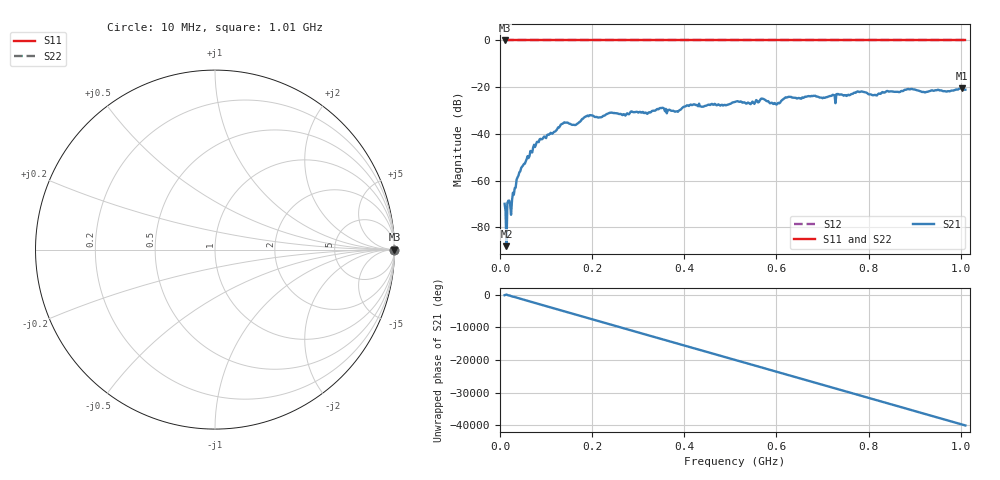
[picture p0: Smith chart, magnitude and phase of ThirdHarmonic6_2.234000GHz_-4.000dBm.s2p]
! 8/17/2025 2:33:47 AM
! C:\ANRITSUVNA\TEMP\TEMP.S2P
! CHANNEL.1
! TR.MEASUREMENT
! RAW.DATA
! RF.CORRECTION.OFF
! AVERAGING.OFF
! IF.BANDWIDTH: 5KHZ
! SWEEPTYPE:  FREQ.SWEEP(Linear)
! Reference Plane Port Info
! PORT:  PORT1  PORT2
! DISTANCE:  0  m  0  m
! TIME:  0  s  0  s
! PHASE.OFFSET:  0  deg.  0  deg.
! LOSS:  0  dB  0  dB
! REF.LOSS:  0  dB  0  dB
! REF.FREQ:  0  Hz  0  Hz
! Power Info
! POWER:  -20  dBm  -20  dBm
! EFF.POWER:  -20  dBm  -20  dBm
! SOURCE.ATTEN:  0  dB  0  dB
! TEST.ATTEN:  0  dB  0  dB
# GHZ S RI R 50.0
! FREQ.GHZ  S11RE  S11IM  S21RE  S21IM  S12RE  S12IM  S22RE  S22IM
!; PortSelection: Port_12
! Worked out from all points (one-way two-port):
!   501 points, 10 MHz to 1.01 GHz, reference 50 ohm
!   highest |S21| = -20.47 dB at 1.002 GHz (marker M1); lowest = -88.0 dB at 14 MHz (marker M2)
!   lowest |S11| = 0.0 dB at 10 MHz (marker M3)
!   |S11| at or under -10 dB: nowhere
!   |S22| runs from 0.0 to 0.0 dB; largest |S21 - S12| = 1.1
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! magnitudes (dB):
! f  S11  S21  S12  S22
! 10 MHz  0.0  -69.9  0.0  0.0
! 14 MHz  0.0  -88.0  0.0  0.0
! 26 MHz  0.0  -68.6  0.0  0.0
! 44 MHz  0.0  -56.0  0.0  0.0
! 78 MHz  0.0  -44.5  0.0  0.0
! 136 MHz  0.0  -35.6  0.0  0.0
! 162 MHz  0.0  -36.2  0.0  0.0
! 178 MHz  0.0  -33.6  0.0  0.0
! 344 MHz  0.0  -29.5  0.0  0.0
! 382 MHz  0.0  -30.4  0.0  0.0
! 416 MHz  0.0  -27.7  0.0  0.0
! 510 MHz  0.0  -26.3  0.0  0.0
! 548 MHz  0.0  -26.2  0.0  0.0
! 570 MHz  0.0  -24.9  0.0  0.0
! 598 MHz  0.0  -27.1  0.0  0.0
! 624 MHz  0.0  -24.3  0.0  0.0
! 678 MHz  0.0  -23.8  0.0  0.0
! 780 MHz  0.0  -22.1  0.0  0.0
! 814 MHz  0.0  -23.3  0.0  0.0
! 844 MHz  0.0  -21.9  0.0  0.0
! 1.002 GHz  0.0  -20.5  0.0  0.0
! 1.01 GHz  0.0  -21.1  0.0  0.0
